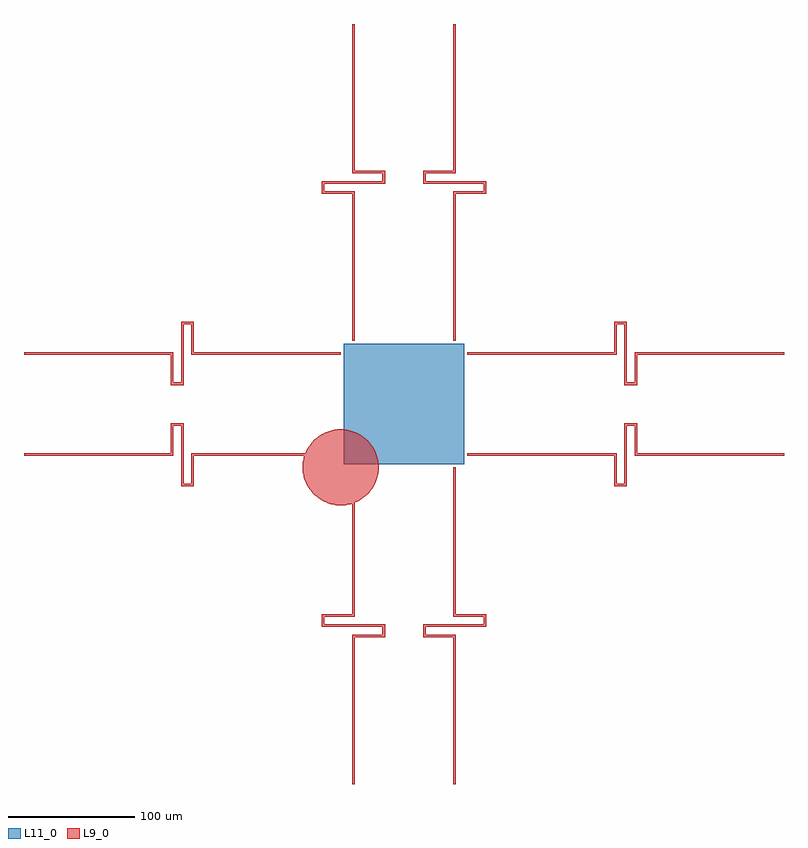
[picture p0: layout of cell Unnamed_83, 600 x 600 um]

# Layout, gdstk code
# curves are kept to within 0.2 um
from math import pi, radians
import gdstk
lib = gdstk.Library(unit=1e-6, precision=1e-09)
def R(c, l, rs):  # rectangles x0, y0, x1, y1
    for r in rs: c.add(gdstk.rectangle(r[:2], r[2:], *l))
def P(c, l, *ps):  # polygons
    for p in ps: c.add(gdstk.Polygon(p, *l))
L9_0 = (9, 0)
L11_0 = (11, 0)

rectangle_s95_95_l11_0__ = lib.new_cell('rectangle_S95_95_L11_0__3836f13c')
R(rectangle_s95_95_l11_0__, L11_0, [(0,0,95,95)])

rectangle_s50_2_l9_0_cf_ = lib.new_cell('rectangle_S50_2_L9_0_CF_7b202ac9')
R(rectangle_s50_2_l9_0_cf_, L9_0, [(0,0,50,2)])

rectangle_s2_6_l9_0_cfa_ = lib.new_cell('rectangle_S2_6_L9_0_CFa_6e69fcce')
R(rectangle_s2_6_l9_0_cfa_, L9_0, [(0,0,2,6)])

rectangle_s26_2_l9_0_cf_ = lib.new_cell('rectangle_S26_2_L9_0_CF_7241b5a4')
R(rectangle_s26_2_l9_0_cf_, L9_0, [(0,0,26,2)])

rectangle_s2_116_l9_0_c_ = lib.new_cell('rectangle_S2_116_L9_0_C_2d5fca50')
R(rectangle_s2_116_l9_0_c_, L9_0, [(0,0,2,116)])

unnamed_85 = lib.new_cell('Unnamed_85')
unnamed_85.add(gdstk.Reference(rectangle_s50_2_l9_0_cf_, (-24,124)))
unnamed_85.add(gdstk.Reference(rectangle_s2_6_l9_0_cfa_, (24,118)))
unnamed_85.add(gdstk.Reference(rectangle_s2_6_l9_0_cfa_, (-24,126)))
unnamed_85.add(gdstk.Reference(rectangle_s26_2_l9_0_cf_, (0,116)))
unnamed_85.add(gdstk.Reference(rectangle_s26_2_l9_0_cf_, (-24,132)))
unnamed_85.add(gdstk.Reference(rectangle_s2_116_l9_0_c_, (0,0)))
unnamed_85.add(gdstk.Reference(rectangle_s2_116_l9_0_c_, (0,134)))

unnamed_86 = lib.new_cell('Unnamed_86')
unnamed_86.add(gdstk.Reference(unnamed_85, (41,-300), rotation=pi, x_reflection=True))
unnamed_86.add(gdstk.Reference(unnamed_85, (-41,-300)))

circle_r30_ar2p5_l9_0 = lib.new_cell('circle_R30_AR2p5_L9_0')
P(circle_r30_ar2p5_l9_0, L9_0, [(0,-30),(-6.493,-29.289),(-11.481,-27.716),(-17.207,-24.575),(-21.213,-21.213),(-24.575,-17.207),(-27.716,-11.481),(-29.289,-6.493),(-30,0),(-29.289,6.493),(-27.716,11.481),(-24.575,17.207),(-21.213,21.213),(-17.207,24.575),(-11.481,27.716),(-6.493,29.289),(0,30),(6.493,29.289),(11.481,27.716),(17.207,24.575),(21.213,21.213),(24.575,17.207),(27.716,11.481),(29.289,6.493),(30,0),(29.289,-6.493),(27.716,-11.481),(24.575,-17.207),(21.213,-21.213),(17.207,-24.575),(11.481,-27.716),(6.493,-29.289)])

unnamed_83 = lib.new_cell('Unnamed_83')
unnamed_83.add(gdstk.Reference(rectangle_s95_95_l11_0__, (-47.5,-47.5)))
unnamed_83.add(gdstk.Reference(unnamed_86, (0,0), x_reflection=True))
unnamed_83.add(gdstk.Reference(unnamed_86, (0,0), rotation=pi/2))
unnamed_83.add(gdstk.Reference(circle_r30_ar2p5_l9_0, (-50,-50)))
unnamed_83.add(gdstk.Reference(unnamed_86, (0,0), rotation=3*pi/2))
unnamed_83.add(gdstk.Reference(unnamed_86, (0,0)))

lib.write_gds('Unnamed_83.gds')
